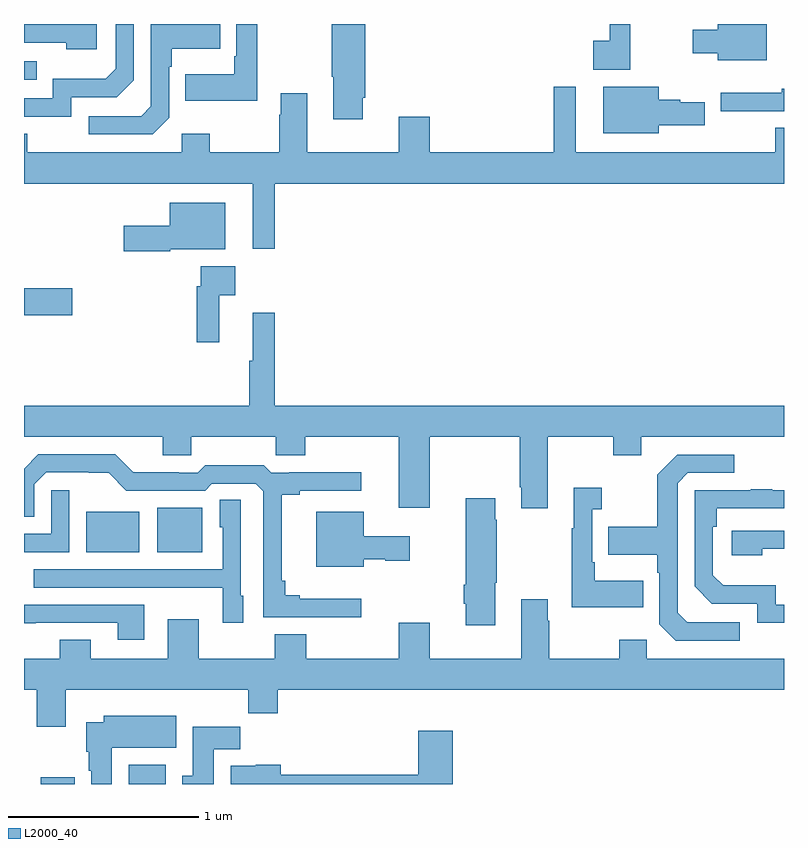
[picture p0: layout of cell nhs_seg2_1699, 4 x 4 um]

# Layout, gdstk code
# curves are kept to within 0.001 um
import gdstk
lib = gdstk.Library(unit=1e-6, precision=1e-09)
def R(c, l, rs):  # rectangles x0, y0, x1, y1
    for r in rs: c.add(gdstk.rectangle(r[:2], r[2:], *l))
def P(c, l, *ps):  # polygons
    for p in ps: c.add(gdstk.Polygon(p, *l))
L2000_40 = (2000, 40)

nhs_seg2_1699 = lib.new_cell('nhs_seg2_1699')
R(nhs_seg2_1699, L2000_40, [(199.088,653.8,199.267,653.836), (199.551,653.8,199.747,653.902), (199.328,655.019,199.606,655.234), (199.7,655.019,199.939,655.255), (199,656.266,199.255,656.408), (199,657.507,199.067,657.603)])
P(nhs_seg2_1699, L2000_40, [(199.764,657.306),(199.764,657.575),(199.777,657.575),(199.777,657.671),(200.033,657.671),(200.033,657.8),(199.668,657.8),(199.668,657.366),(199.617,657.315),(199.341,657.315),(199.341,657.219),(199.677,657.219)],
  [(199.248,657.414),(199.488,657.414),(199.578,657.504),(199.578,657.8),(199.482,657.8),(199.482,657.564),(199.429,657.511),(199.152,657.511),(199.152,657.408),(199,657.408),(199,657.312),(199.248,657.312)],
  [(202.192,657.8),(202.082,657.8),(202.082,657.713),(201.996,657.713),(201.996,657.56),(202.192,657.56)],
  [(202.909,657.8),(202.652,657.8),(202.652,657.769),(202.521,657.769),(202.521,657.647),(202.652,657.647),(202.652,657.608),(202.909,657.608)],
  [(200.782,657.412),(200.795,657.412),(200.795,657.8),(200.62,657.8),(200.62,657.523),(200.627,657.523),(200.627,657.3),(200.782,657.3)],
  [(200.227,657.8),(200.118,657.8),(200.118,657.631),(200.106,657.631),(200.106,657.535),(199.849,657.535),(199.849,657.395),(200.227,657.395)],
  [(199.384,657.798),(199,657.798),(199,657.702),(199.223,657.702),(199.223,657.668),(199.384,657.668)],
  [(200.321,656.96),(203,656.96),(203,657.253),(202.955,657.253),(202.955,657.124),(201.904,657.124),(201.904,657.469),(201.787,657.469),(201.787,657.124),(201.136,657.124),(201.136,657.313),(200.972,657.313),(200.972,657.124),(200.491,657.124),(200.491,657.436),(200.351,657.436),(200.351,657.323),(200.344,657.323),(200.344,657.124),(199.977,657.124),(199.977,657.223),(199.83,657.223),(199.83,657.124),(199.017,657.124),(199.017,657.223),(199,657.223),(199,656.96),(200.204,656.96),(200.204,656.616),(200.321,656.616)],
  [(202.342,657.266),(202.582,657.266),(202.582,657.388),(202.455,657.388),(202.455,657.401),(202.342,657.401),(202.342,657.469),(202.049,657.469),(202.049,657.224),(202.342,657.224)],
  [(203,657.458),(202.988,657.458),(202.988,657.439),(202.667,657.439),(202.667,657.342),(203,657.342)],
  [(199.77,656.615),(200.059,656.615),(200.059,656.86),(199.766,656.86),(199.766,656.737),(199.524,656.737),(199.524,656.603),(199.77,656.603)],
  [(200.027,656.372),(200.113,656.372),(200.113,656.524),(199.929,656.524),(199.929,656.42),(199.909,656.42),(199.909,656.124),(200.027,656.124)],
  [(200.321,656.281),(200.204,656.281),(200.204,656.028),(200.185,656.028),(200.185,655.792),(199,655.792),(199,655.628),(199.73,655.628),(199.73,655.53),(199.881,655.53),(199.881,655.628),(200.326,655.628),(200.326,655.53),(200.481,655.53),(200.481,655.628),(200.972,655.628),(200.972,655.254),(201.136,655.254),(201.136,655.628),(201.61,655.628),(201.61,655.363),(201.617,655.363),(201.617,655.251),(201.757,655.251),(201.757,655.628),(202.102,655.628),(202.102,655.529),(202.249,655.529),(202.249,655.628),(203,655.628),(203,655.792),(200.321,655.792)],
  [(200.776,654.775),(200.452,654.775),(200.452,654.794),(200.375,654.794),(200.375,654.871),(200.357,654.871),(200.357,655.322),(200.452,655.322),(200.452,655.344),(200.776,655.344),(200.776,655.442),(200.395,655.442),(200.395,655.437),(200.301,655.437),(200.261,655.477),(199.954,655.477),(199.914,655.437),(199.814,655.437),(199.814,655.442),(199.574,655.442),(199.479,655.536),(199.076,655.536),(199,655.46),(199,655.206),(199.053,655.206),(199.053,655.377),(199.116,655.44),(199.445,655.439),(199.539,655.344),(199.953,655.344),(199.989,655.38),(200.22,655.38),(200.259,655.341),(200.259,654.678),(200.776,654.678)],
  [(202.768,654.651),(202.491,654.651),(202.44,654.702),(202.44,655.383),(202.494,655.437),(202.738,655.437),(202.738,655.533),(202.437,655.533),(202.332,655.427),(202.332,655.155),(202.075,655.155),(202.075,655.007),(202.332,655.007),(202.332,654.911),(202.344,654.911),(202.344,654.642),(202.431,654.555),(202.768,654.555)],
  [(202.259,654.871),(202.003,654.871),(202.003,654.967),(201.99,654.967),(201.99,655.247),(202.042,655.247),(202.042,655.36),(201.893,655.36),(201.893,655.147),(201.882,655.147),(201.882,654.731),(202.259,654.731)],
  [(203,654.744),(202.956,654.744),(202.956,654.847),(202.679,654.847),(202.626,654.9),(202.626,655.154),(202.646,655.154),(202.646,655.251),(203,655.251),(203,655.347),(202.937,655.347),(202.937,655.352),(202.825,655.352),(202.825,655.347),(202.53,655.347),(202.53,654.84),(202.62,654.75),(202.86,654.75),(202.86,654.648),(203,654.648)],
  [(199.239,655.345),(199.143,655.345),(199.143,655.116),(199,655.116),(199,655.02),(199.239,655.02)],
  [(201.481,654.859),(201.489,654.859),(201.489,655.19),(201.481,655.19),(201.481,655.303),(201.326,655.303),(201.326,654.848),(201.314,654.848),(201.314,654.748),(201.326,654.748),(201.326,654.636),(201.481,654.636)],
  [(200.155,654.792),(200.142,654.792),(200.142,655.295),(200.03,655.295),(200.03,655.152),(200.046,655.152),(200.046,654.93),(199.051,654.93),(199.051,654.834),(199.729,654.834),(199.729,654.833),(200.046,654.833),(200.046,654.648),(200.155,654.648)],
  [(200.788,654.983),(200.901,654.983),(200.901,654.976),(201.031,654.976),(201.031,655.105),(200.788,655.105),(200.788,655.234),(200.537,655.234),(200.537,654.944),(200.788,654.944)],
  [(202.886,655.038),(203,655.038),(203,655.134),(202.725,655.134),(202.725,655.004),(202.886,655.004)],
  [(199.219,654.296),(200.179,654.296),(200.179,654.172),(200.336,654.172),(200.336,654.296),(203,654.296),(203,654.46),(202.278,654.46),(202.278,654.559),(202.132,654.559),(202.132,654.46),(201.765,654.46),(201.765,654.659),(201.757,654.659),(201.757,654.772),(201.617,654.772),(201.617,654.46),(201.136,654.46),(201.136,654.649),(200.972,654.649),(200.972,654.46),(200.485,654.46),(200.485,654.589),(200.321,654.589),(200.321,654.46),(199.921,654.46),(199.921,654.667),(199.757,654.667),(199.757,654.46),(199.351,654.46),(199.351,654.559),(199.187,654.559),(199.187,654.46),(199,654.46),(199,654.296),(199.067,654.296),(199.067,654.102),(199.219,654.102)],
  [(199.633,654.744),(199,654.744),(199,654.647),(199.063,654.647),(199.063,654.648),(199.493,654.648),(199.493,654.558),(199.633,654.558)],
  [(199.462,653.99),(199.801,653.99),(199.801,654.16),(199.421,654.16),(199.421,654.124),(199.328,654.124),(199.328,653.97),(199.34,653.97),(199.34,653.87),(199.355,653.87),(199.355,653.8),(199.462,653.8)],
  [(199.999,653.984),(200.138,653.984),(200.138,654.102),(199.889,654.102),(199.889,653.844),(199.832,653.844),(199.832,653.8),(199.999,653.8)],
  [(201.257,654.079),(201.074,654.079),(201.074,653.848),(200.351,653.848),(200.351,653.902),(200.22,653.902),(200.22,653.896),(200.087,653.896),(200.087,653.8),(201.257,653.8)])

lib.write_gds('nhs_seg2_1699.gds')
